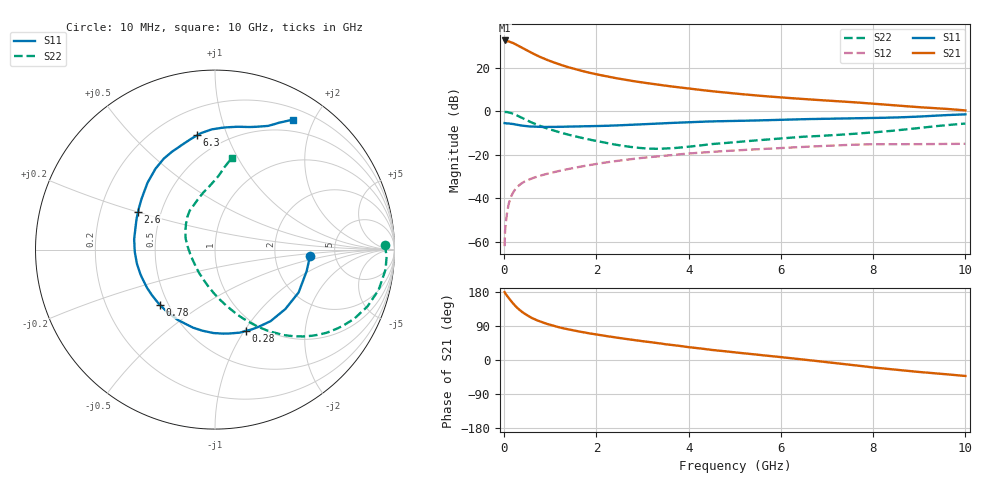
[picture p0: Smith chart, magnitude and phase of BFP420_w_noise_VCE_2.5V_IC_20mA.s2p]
! Infineon Technologies  Discrete & RF Semiconductors
! BFP420
! VCE =  2.5 V,  IC =  20 mA
! Common Emitter S-Parameters:  Jan 2016
# GHz  S  MA  R  50
!  f  S11  S21  S12  S22
! GHz  MAG  ANG  MAG  ANG  MAG  ANG  MAG  ANG
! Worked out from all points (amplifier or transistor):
!   233 points, 10 MHz to 10 GHz, reference 50 ohm
!   highest |S21| = 32.4 dB at 10 MHz (marker M1)
!   |S21| within 3 dB of that: start of sweep to 359.6 MHz
!   unconditionally stable (mu >= 1): start of sweep to 11.24 MHz; 1.811 GHz to end of sweep
!   at 200 MHz: K = 0.23, MSG = 34.2 dB, |S12| = -37.1 dB
!   at 1.74 GHz: K = 0.98, MSG = 21.7 dB, |S12| = -25.2 dB
!   at 10 GHz: K = 1.07, MAG = 6.1 dB, |S12| = -15.0 dB
!   lowest NFmin = 1.23 dB at 900 MHz
!   S11 on the Smith chart (normalised r, x): 10 MHz: 3.23, -0.33; 280 MHz: 0.86, -1.02; 780 MHz: 0.45, -0.34; 2.6 GHz: 0.37, +0.20; 6.3 GHz: 0.36, +0.79; 10 GHz: 0.34, +1.72
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0.01  0.5311 -4.0  41.71 179.1  0.0008 85.6  0.9459 1.7
0.02  0.5286 -5.3  40.81 176.4  0.0018 90.0  0.9569 -2.2
0.075  0.5202 -20.1  39.95 167.3  0.0055 80.8  0.9461 -10.2
0.1  0.5235 -27.1  39.64 163.2  0.0075 78.9  0.9392 -13.8
0.15  0.5132 -40.1  38.05 155.4  0.0109 75.4  0.9068 -20.4
0.2  0.5049 -52.1  36.16 148.3  0.0139 70.9  0.8663 -26.4
0.28  0.4848 -69.3  32.73 138.2  0.018 65.7  0.7933 -34.7
0.34  0.4736 -81.0  30.3 131.7  0.0206 62.6  0.7392 -40.1
0.4  0.4649 -91.2  27.97 125.8  0.0229 60.0  0.6878 -44.7
0.5  0.4517 -105.8  24.47 117.7  0.026 57.1  0.6109 -51.2
0.6  0.4434 -118.0  21.54 110.9  0.0287 55.2  0.5467 -56.4
0.78  0.4344 -134.9  17.48 101.5  0.0329 53.6  0.4574 -63.8
0.98  0.4339 -149.2  14.28 93.3  0.0376 52.8  0.3853 -70.7
1.16  0.436 -159.2  12.17 87.3  0.0417 52.4  0.3368 -76.2
1.68  0.4481 179.7  8.392 74.0  0.0538 51.0  0.2439 -91.3
2.6  0.478 154.0  5.285 56.2  0.0756 45.5  0.1584 -123.4
3.4  0.5216 137.2  3.955 43.4  0.0937 39.0  0.1374 -160.9
5.1  0.5982 112.5  2.474 18.9  0.127 23.9  0.1978 146.2
6.3  0.6443 98.9  1.955 3.7  0.1477 13.4  0.2501 125.8
6.8  0.6628 93.6  1.801 -3.0  0.1567 8.7  0.2683 118.2
8.4  0.7101 74.1  1.372 -24.7  0.1744 -8.9  0.3527 95.3
10  0.8439 59.0  1.038 -42.1  0.1781 -21.1  0.5186 79.6
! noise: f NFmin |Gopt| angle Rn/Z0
0.9  1.23  0.16  -154  0.13
1.8  1.51  0.24  -144  0.13
2.4  1.66  0.22  -141  0.15
3  1.69  0.3  -132  0.16
4  1.82  0.42  -115  0.23
5  2.28  0.48  -96  0.37
6  2.65  0.52  -86  0.56
